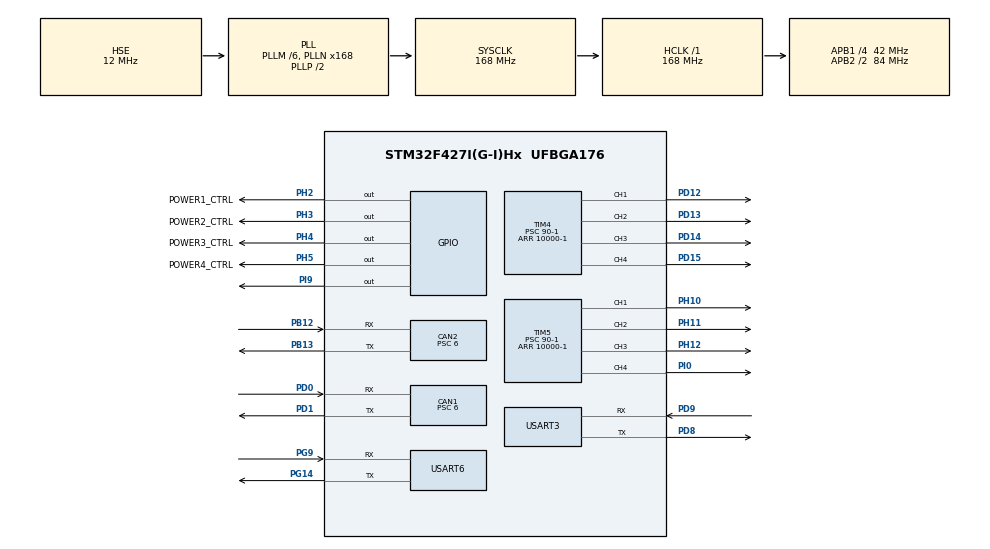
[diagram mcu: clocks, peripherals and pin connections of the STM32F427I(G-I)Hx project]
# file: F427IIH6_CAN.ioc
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CAN1.ABOM=ENABLE
CAN1.BS1=CAN_BS1_5TQ
CAN1.CalculateBaudRate=1000000
CAN1.CalculateTimeBit=1000
CAN1.CalculateTimeQuantum=142.85714285714286
CAN1.NART=ENABLE
CAN1.Prescaler=6
CAN2.ABOM=ENABLE
CAN2.BS1=CAN_BS1_5TQ
CAN2.CalculateBaudRate=1000000
CAN2.CalculateTimeBit=1000
CAN2.CalculateTimeQuantum=142.85714285714286
CAN2.NART=ENABLE
CAN2.Prescaler=6
Dma.Request0=USART6_RX
Dma.USART6_RX.0.Direction=DMA_PERIPH_TO_MEMORY
Dma.USART6_RX.0.FIFOMode=DMA_FIFOMODE_DISABLE
Dma.USART6_RX.0.Instance=DMA2_Stream1
Dma.USART6_RX.0.MemDataAlignment=DMA_MDATAALIGN_BYTE
Dma.USART6_RX.0.MemInc=DMA_MINC_ENABLE
Dma.USART6_RX.0.Mode=DMA_NORMAL
Dma.USART6_RX.0.PeriphDataAlignment=DMA_PDATAALIGN_BYTE
Dma.USART6_RX.0.PeriphInc=DMA_PINC_DISABLE
Dma.USART6_RX.0.Priority=DMA_PRIORITY_MEDIUM
FREERTOS.Tasks01=defaultTask,0,128,StartDefaultTask,Default,NULL,Dynamic,NULL,NULL
FREERTOS.configENABLE_FPU=1
Mcu.Family=STM32F4
Mcu.Name=STM32F427I(G-I)Hx
Mcu.Package=UFBGA176
NVIC.CAN1_RX0_IRQn=true\:5\:0\:false\:false\:true\:true\:true\:true\:true
NVIC.CAN1_RX1_IRQn=true\:5\:0\:false\:false\:true\:true\:true\:true\:true
NVIC.CAN2_RX0_IRQn=true\:5\:0\:false\:false\:true\:true\:true\:true\:true
NVIC.CAN2_RX1_IRQn=true\:5\:0\:false\:false\:true\:true\:true\:true\:true
NVIC.DMA2_Stream1_IRQn=true\:5\:0\:false\:false\:true\:true\:false\:true\:true
NVIC.PriorityGroup=NVIC_PRIORITYGROUP_4
NVIC.USART6_IRQn=true\:5\:0\:false\:false\:true\:true\:true\:true\:true
PA13.Mode=Serial_Wire
PA13.Signal=SYS_JTMS-SWDIO
PA14.Mode=Serial_Wire
PA14.Signal=SYS_JTCK-SWCLK
PB12.GPIO_PuPd=GPIO_PULLUP
PB12.Mode=CAN_Activate
PB12.Signal=CAN2_RX
PB13.GPIO_PuPd=GPIO_PULLUP
PB13.Mode=CAN_Activate
PB13.Signal=CAN2_TX
PD0.Mode=CAN_Activate
PD0.Signal=CAN1_RX
PD1.Mode=CAN_Activate
PD1.Signal=CAN1_TX
PD12.Signal=S_TIM4_CH1
PD13.Signal=S_TIM4_CH2
PD14.Signal=S_TIM4_CH3
PD15.Signal=S_TIM4_CH4
PD8.Mode=Asynchronous
PD8.Signal=USART3_TX
PD9.Mode=Asynchronous
PD9.Signal=USART3_RX
PG14.Mode=Asynchronous
PG14.Signal=USART6_TX
PG9.Mode=Asynchronous
PG9.Signal=USART6_RX
PH0/OSC_IN.Mode=HSE-External-Oscillator
PH0/OSC_IN.Signal=RCC_OSC_IN
PH1/OSC_OUT.Mode=HSE-External-Oscillator
PH1/OSC_OUT.Signal=RCC_OSC_OUT
PH10.Signal=S_TIM5_CH1
PH11.Signal=S_TIM5_CH2
PH12.Signal=S_TIM5_CH3
PH2.GPIO_Label=POWER1_CTRL
PH2.Signal=GPIO_Output
PH3.GPIO_Label=POWER2_CTRL
PH3.Signal=GPIO_Output
PH4.GPIO_Label=POWER3_CTRL
PH4.Signal=GPIO_Output
PH5.GPIO_Label=POWER4_CTRL
PH5.Signal=GPIO_Output
PI0.Signal=S_TIM5_CH4
PI9.Signal=GPIO_Output
ProjectManager.HeapSize=0x1000
ProjectManager.StackSize=0x800
ProjectManager.TargetToolchain=MDK-ARM V5.32
RCC.48MHZClocksFreq_Value=48000000
RCC.AHBFreq_Value=168000000
RCC.APB1CLKDivider=RCC_HCLK_DIV4
RCC.APB1Freq_Value=42000000
RCC.APB1TimFreq_Value=84000000
RCC.APB2CLKDivider=RCC_HCLK_DIV2
RCC.APB2Freq_Value=84000000
RCC.APB2TimFreq_Value=168000000
RCC.CortexFreq_Value=168000000
RCC.HCLKFreq_Value=168000000
RCC.HSE_VALUE=12000000
RCC.HSI_VALUE=16000000
RCC.LSE_VALUE=32768
RCC.PLLM=6
RCC.PLLN=168
RCC.PLLQ=7
RCC.PLLSourceVirtual=RCC_PLLSOURCE_HSE
RCC.SYSCLKFreq_VALUE=168000000
RCC.SYSCLKSource=RCC_SYSCLKSOURCE_PLLCLK
RCC.VCOOutputFreq_Value=336000000
SH.S_TIM4_CH1.0=TIM4_CH1,PWM Generation1 CH1
SH.S_TIM4_CH2.0=TIM4_CH2,PWM Generation2 CH2
SH.S_TIM4_CH3.0=TIM4_CH3,PWM Generation3 CH3
SH.S_TIM4_CH4.0=TIM4_CH4,PWM Generation4 CH4
SH.S_TIM5_CH1.0=TIM5_CH1,PWM Generation1 CH1
SH.S_TIM5_CH2.0=TIM5_CH2,PWM Generation2 CH2
SH.S_TIM5_CH3.0=TIM5_CH3,PWM Generation3 CH3
SH.S_TIM5_CH4.0=TIM5_CH4,PWM Generation4 CH4
TIM4.AutoReloadPreload=TIM_AUTORELOAD_PRELOAD_ENABLE
TIM4.Channel-PWM\ Generation1\ CH1=TIM_CHANNEL_1
TIM4.Channel-PWM\ Generation2\ CH2=TIM_CHANNEL_2
TIM4.Channel-PWM\ Generation3\ CH3=TIM_CHANNEL_3
TIM4.Channel-PWM\ Generation4\ CH4=TIM_CHANNEL_4
TIM4.Period=10000-1
TIM4.Prescaler=90-1
TIM5.AutoReloadPreload=TIM_AUTORELOAD_PRELOAD_ENABLE
TIM5.Channel-PWM\ Generation1\ CH1=TIM_CHANNEL_1
TIM5.Channel-PWM\ Generation2\ CH2=TIM_CHANNEL_2
TIM5.Channel-PWM\ Generation3\ CH3=TIM_CHANNEL_3
TIM5.Channel-PWM\ Generation4\ CH4=TIM_CHANNEL_4
TIM5.Period=10000-1
TIM5.Prescaler=90-1
USART3.VirtualMode=VM_ASYNC
USART6.VirtualMode=VM_ASYNC
VP_FREERTOS_VS_CMSIS_V1.Mode=CMSIS_V1
VP_TIM4_VS_ClockSourceINT.Mode=Internal
VP_TIM5_VS_ClockSourceINT.Mode=Internal
board=custom

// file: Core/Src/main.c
/* USER CODE BEGIN Header */
/**
  ******************************************************************************
  * @file           : main.c
  * @brief          : Main program body
  ******************************************************************************
  * @attention
  *
  * Copyright (c) 2025 STMicroelectronics.
  * All rights reserved.
  *
  * This software is licensed under terms that can be found in the LICENSE file
  * in the root directory of this software component.
  * If no LICENSE file comes with this software, it is provided AS-IS.
  *
  ******************************************************************************
  */
/* USER CODE END Header */
#include "main.h"
#include "cmsis_os.h"
#include "can.h"
#include "dma.h"
#include "tim.h"
#include "usart.h"
#include "gpio.h"

/* USER CODE BEGIN Includes */
#include "dm_j4310.h"
#include "maincpp.h"
#include "math.h"
#include "Led_Task.h"
#include "bsp_usart.h"
#include "disp_port.h"       /* 屏幕抽象层契约（具体屏由 feature_config.h §4 二选一） */
#include "Disp_Task.h"       /* 显示自检任务：屏的上电/初始化/体检都放任务里跑（不卡调度器启动） */
#include "Oled_Task.h"
#include "SdCard_Task.h"
#include "version.h"
#include "bsp_log.h"
#include "sys_status.h"
#include "sd_cli.h"
#include "feature_config.h"   /* 功能开关（宏裁剪无关功能） */
#include "J8108_Task.h"       /* 8108 关节电机控制任务（CAN1，控制帧发生器） */
#include "bsp_key.h"          /* 板载按键 PB2 事件机（纯 UI：翻页） */
#include "CmdRx_Task.h"       /* 串口协议接收/解析/分派（协议 v1） */
#include "Monitor_Task.h"     /* 低频监控：屏刷 10Hz + 日志 1Hz + 遥测 */
#include "proto_tx.h"         /* 协议统一发送口（互斥锁） */
#include "fault_log.h"        /* 崩溃黑匣子（复位后自报死因） */
extern void UART10_Init(void);
/* USER CODE END Includes */

/* USER CODE BEGIN PD */
#define fireVelo_low 5
#define fireVelo_high 9.5
// 高精度二次模型（误差最小）
int calculate_rpm(float desired_velocity) {
    const float A =3745, B = -3339.759f;
    return (int)( A * desired_velocity +B);
}
/* USER CODE END PD */

/* ★ 编译期告警：安全性模块被关闭必须显式可见（规范 R7）。
 * 刻意只放在 main.c（组装根，全工程只编译一次）——放在共享头里会在每个 include 它的
 * 编译单元各报一次（M3 实测 DISP_DEV 变成 18 条同文告警，噪声会淹没真问题）。
 * 运行时还有第二道保险：开机 @BOOT 横幅里的 j8108:0。 */
#if !FEATURE_J8108
#warning "J8108 disabled: motor control and protection are OFF (this build has no motor module)"
#endif

/* USER CODE BEGIN PV */
	float debug_shoot_velocity=0;
int get_rpm=0;
/* USER CODE END PV */

void SystemClock_Config(void);
void MX_FREERTOS_Init(void);

/* USER CODE BEGIN 0 */
/* ---- 上次运行是怎么死的？（崩点记录在 .bss，软复位不清零 → 开机自报，免调试器）----
 * 由 stm32f4xx_it.c 的 HardFault_Handler 与 freertos.c 的 vApplicationStackOverflowHook 记录 */
extern volatile uint32_t s_hf_pc, s_hf_lr, s_hf_cfsr, s_hf_hfsr;
extern char s_overflow_task[16];
extern volatile uint32_t s_overflow_cfsr;
static void report_previous_fault(void);
/* USER CODE END 0 */

/* USER CODE END 0 */

int main(void)
{

  /* MCU Configuration--------------------------------------------------------*/

  /* Reset of all peripherals, Initializes the Flash interface and the Systick. */
  HAL_Init();

  /* Configure the system clock */
  SystemClock_Config();

  /* Initialize all configured peripherals */
  MX_GPIO_Init();
  MX_DMA_Init();
  MX_CAN2_Init();
  MX_USART3_UART_Init();
  MX_USART6_UART_Init();
  MX_TIM4_Init();
  MX_TIM5_Init();
  MX_CAN1_Init();
  /* USER CODE BEGIN 2 */
  /* ---- 阶段1：最小系统验证（流水灯） ----
   * 暂时停用：舵机/遥控任务（main_cpp）、单电机测试（MotorTest）。
   * 只保留：POWER 供电控制（基础设施）+ 日志串口 + LED 流水灯。
   */
  HAL_GPIO_WritePin(POWER1_CTRL_GPIO_Port,POWER1_CTRL_Pin,1);
  HAL_GPIO_WritePin(POWER2_CTRL_GPIO_Port,POWER2_CTRL_Pin,1);
  HAL_GPIO_WritePin(POWER3_CTRL_GPIO_Port,POWER3_CTRL_Pin,1);
  HAL_GPIO_WritePin(POWER4_CTRL_GPIO_Port,POWER4_CTRL_Pin,0);

  // main_cpp();          /* 阶段1停用：舵机+遥控任务 */
  // MotorTest_Task_Init();/* 阶段1停用：单电机测试 */
  UART10_Init();            /* 日志串口必须先于 LED 任务（任务里 printf 依赖 uart10） */
  LOG_I("fw", "=== firmware %s (release %s, built %s %s) ===",
        FW_VERSION_STR, FW_RELEASE_STR, FW_BUILD_DATE, FW_BUILD_TIME);  /* 双版本标识 */
  /* 机器可读开机横幅（profile + 模块清单）：台架脚本据此断言"烧进去的组合 = 想跑的组合"，
   * 防"以为开了其实没开" —— 见 docs/规范_功能宏与模块化.md §6。
   * 注意：日志单条格式化缓冲 LOG_FMT_BUF_SIZE=128 会截断超长行（M1 实测），
   *       所以**拆成两行**，两行都以 @BOOT 开头便于脚本拼接（改这里要同步改 check_profiles 断言）。 */
  LOG_I("fw", "@BOOT profile=%s fw=%s disp=%s", BOOT_PROFILE_NAME, FW_VERSION_STR, DISP_DRIVER_NAME);
  LOG_I("fw", "@BOOT mods=j8108:%u,key:%u,monitor:%u,serial:%u,led:%u,sd:%u,cli:%u,car:%u,vlog:%u",
        FEATURE_J8108, FEATURE_KEY, FEATURE_MONITOR_TASK, FEATURE_SERIAL_CTRL, FEATURE_LED_TASK,
        FEATURE_SD_CARD, FEATURE_SD_CLI, FEATURE_CAR_TASKS, FEATURE_VERBOSE_LOG);
  report_previous_fault();  /* ★ 上次是不是崩了？崩在哪？——开机就报（不用接调试器） */

  /* 协议发送口：**与显示无关**（@OK/@ERR/@EVT/@TEL 四个出口共用一把锁），任何会发 @ 行的
   * 模块都依赖它 → 必须无条件初始化。M1 抓到的真实缺陷：它原先嵌在 OLED 宏里，换成
   * "有电机无屏"组合（PROFILE_MOTOR_DEV）会被跳过 → Proto_Send 因 s_tx_mtx==NULL 静默丢回包。 */
  Proto_TxInit();

#if FEATURE_SD_CLI
  SD_CLI_Init();             /* SD 卡命令行（uart10 接收回调注册） */
#endif
#if FEATURE_LED_TASK
  Led_Task_Init();          /* LED 流水灯任务 */
#endif
#if FEATURE_DISP_UI
  Disp_Init();              /* 屏：只配引脚+SPI（毫秒级；长延时/自检见 Disp_Task.c） */
  Disp_Task_Init();         /* 屏的上电/初始化/体检交给低优先级任务，不卡调度器启动 */
#if FEATURE_MONITOR_TASK
  Monitor_Task_Init();      /* 低频监控任务：屏刷 10Hz + 日志 1Hz + 遥测（三层同源快照） */
#endif
#endif
#if FEATURE_SD_CARD
  SdCard_Task_Init();
#endif
#if FEATURE_SD_CLI
  xTaskCreate(SD_CLI_TaskEntry, "CliTask", 512, NULL, 3, NULL);  /* SD 命令行任务 */
#endif
#if FEATURE_J8108
  J8108_Task_Init();        /* 8108 关节电机（CAN1；控制帧发生器：串口驱动模式/设定点） */
#endif

#if FEATURE_SERIAL_CTRL
  CmdRx_Task_Init();        /* 串口协议（USART6 与日志同口：# 命令 / @ 回包，靠前缀隔离）
                             * 依赖：uart10 + Proto_TxInit（两者已在上方初始化）；
                             * **不依赖电机** → 单独用 SERIAL_CTRL 门控（屏调试组合也要能收命令） */
#endif
#if FEATURE_KEY
  Key_Task_Init();          /* 板载按键 PB2（10ms 扫描 + 事件机） */
#endif
#if FEATURE_CAR_TASKS
  main_cpp();               /* 小车：舵机 + 遥控（默认关闭） */
#endif

  /* 任务创建结果自检（heap 32KB 紧张：创建失败会静默不跑 → 这里显式报出来 + 打印剩余堆） */
  LOG_I("fw", "task bring-up: active=%u | free heap=%u B / total=%u B (task+stack+TCB 已占用)",
        (unsigned)uxTaskGetNumberOfTasks(), (unsigned)xPortGetFreeHeapSize(), (unsigned)configTOTAL_HEAP_SIZE);
  SYS_SetState(SYS_STATE_RUNNING);         /* OLED 显示任务：画面绘制/周期刷新由任务执行 */
//	HAL_TIM_PWM_Start(&htim4,TIM_CHANNEL_1);
//	int debug_pwm=0;

//	__HAL_TIM_SET_COMPARE(&htim4,TIM_CHANNEL_1,500);
	// main_cpp();  /* 阶段1停用：舵机+遥控任务（CubeMX 重新生成时自动还原，已重新注释） */

//__HAL_TIM_SET_COMPARE(&htim4,TIM_CHANNEL_1,500);
//HAL_Delay(200);
//__HAL_TIM_SET_COMPARE(&htim4,TIM_CHANNEL_2,500);

//	uint8_t data[16]={0};
//	 HAL_UART_Receive_DMA(&huart6,(uint8_t*)data,sizeof(data));
//bsp_can_1_config();
//HAL_Delay(1);
// DM_4310_Register(&hcan1,0x001,0x000,mit_mode);

//	DM_J4310_instnce[0]->dm_controller_instance.p_des=12;
//DM_J4310_instnce[0]->dm_controller_instance.Kp = 1;
//DM_J4310_instnce[0]->dm_controller_instance.Kd =1;

// Enable_DM(DM_J4310_instnce[0]);
//bsp_can_2_config();
//HAL_Delay(3);
//达妙j4310初始id为0x01
//dm_motor_init();
//HAL_Delay(1);
//motor[Motor1].ctrl.mode=mit_mode;
//  motor[Motor1].id=0x01;
// dm_motor_enable(&hcan2, &motor[Motor1]);
// HAL_Delay(1000) ;
// mit_ctrl(&hcan2, &motor[Motor1], motor[Motor1].id, 10, 50, 0, 5, 0);
//uint32_t jntm = 0;

//MI_Motor_s xm_1;
//// MI_motor_GetID(&xm_1);
//// HAL_Delay(3);                                                                                                    ·
//// xm_1.motor_id = 0X7F;
//xm_1.motor_id = 0X7F;
//xm_1.phcan = &hcan2;
//MI_motor_Enable(&xm_1);
//HAL_Delay(3);
//MI_motor_SpeedControl(&xm_1, 5, 0.3);
// HAL_Delay(3);
// HAL_Delay(3000);

//   MI_motor_ChangeID(&xm_1, 0x7F, 0x01);
//   HAL_Delay(3);
//     xm_1.motor_id = 0X01;
//     MI_motor_SpeedControl(&xm_1, 5, 0.3);
//   MI_motor_Stop(&xm_1);
// HAL_Delay(3000);

//  MI_motor_SpeedControl(&xm_1, 25, 0.3);
// HAL_Delay(3);
   // // 开启dm电机
//	 DM_J4310_Controller_t *Rise_DMj4310;
//  Rise_DMj4310 = DM_4310_Register(&hcan1, 0x02, 0x03, pos_vel_mode);
//  Enable_DM(Rise_DMj4310);
//  HAL_Delay(10);
//  Rise_DMj4310->dm_controller_instance.P_des = 0;
//  Rise_DMj4310->dm_controller_instance.V_des = 3;

  /* USER CODE END 2 */

  /* Call init function for freertos objects (in cmsis_os2.c) */
  MX_FREERTOS_Init();

  /* Start scheduler */
  osKernelStart();

  /* We should never get here as control is now taken by the scheduler */

  /* Infinite loop */
  while (1)
  {

    /* USER CODE BEGIN 3 */
//		get_rpm= calculate_rpm(debug_shoot_velocity);
//
//		       Control_DM(Rise_DMj4310);
//
////	 HAL_UART_Receive_DMA(&huart6,(uint8_t*)data,sizeof(data));
//		HAL_Delay(6);
//			__HAL_TIM_SET_COMPARE(&htim4,TIM_CHANNEL_1,debug_pwm);
//		HAL_Delay(10);
  }
  /* USER CODE END 3 */
}

void SystemClock_Config(void)
{
  RCC_OscInitTypeDef RCC_OscInitStruct = {0};
  RCC_ClkInitTypeDef RCC_ClkInitStruct = {0};

  /** Configure the main internal regulator output voltage
  */
  __HAL_RCC_PWR_CLK_ENABLE();
  __HAL_PWR_VOLTAGESCALING_CONFIG(PWR_REGULATOR_VOLTAGE_SCALE1);

  /** Initializes the RCC Oscillators according to the specified parameters
  * in the RCC_OscInitTypeDef structure.
  */
  RCC_OscInitStruct.OscillatorType = RCC_OSCILLATORTYPE_HSE;
  RCC_OscInitStruct.HSEState = RCC_HSE_ON;
  RCC_OscInitStruct.PLL.PLLState = RCC_PLL_ON;
  RCC_OscInitStruct.PLL.PLLSource = RCC_PLLSOURCE_HSE;
  RCC_OscInitStruct.PLL.PLLM = 6;
  RCC_OscInitStruct.PLL.PLLN = 168;
  RCC_OscInitStruct.PLL.PLLP = RCC_PLLP_DIV2;
  RCC_OscInitStruct.PLL.PLLQ = 7;
  if (HAL_RCC_OscConfig(&RCC_OscInitStruct) != HAL_OK)
  {
    Error_Handler();
  }

  /** Initializes the CPU, AHB and APB buses clocks
  */
  RCC_ClkInitStruct.ClockType = RCC_CLOCKTYPE_HCLK|RCC_CLOCKTYPE_SYSCLK
                              |RCC_CLOCKTYPE_PCLK1|RCC_CLOCKTYPE_PCLK2;
  RCC_ClkInitStruct.SYSCLKSource = RCC_SYSCLKSOURCE_PLLCLK;
  RCC_ClkInitStruct.AHBCLKDivider = RCC_SYSCLK_DIV1;
  RCC_ClkInitStruct.APB1CLKDivider = RCC_HCLK_DIV4;
  RCC_ClkInitStruct.APB2CLKDivider = RCC_HCLK_DIV2;

  if (HAL_RCC_ClockConfig(&RCC_ClkInitStruct, FLASH_LATENCY_5) != HAL_OK)
  {
    Error_Handler();
  }
}

/* USER CODE BEGIN 4 */
/* 上次运行的死因自报（日志串口已就绪；报告完清零，保证下次崩溃能重新记录） */
static void report_previous_fault(void)
{
    if (s_hf_pc != 0u)
    {
        LOG_E("fault", "PREVIOUS RUN ENDED IN HARD FAULT: PC=0x%08lX LR=0x%08lX CFSR=0x%08lX HFSR=0x%08lX",
              (unsigned long)s_hf_pc, (unsigned long)s_hf_lr, (unsigned long)s_hf_cfsr, (unsigned long)s_hf_hfsr);
        s_hf_pc = 0u;
        s_hf_lr = 0u;
        s_hf_cfsr = 0u;
        s_hf_hfsr = 0u;
    }
    if (s_overflow_task[0] != '\0')
    {
        LOG_E("fault", "PREVIOUS RUN HIT STACK OVERFLOW in task '%s' (CFSR=0x%08lX) -> raise that task's stack!",
              s_overflow_task, (unsigned long)s_overflow_cfsr);
        s_overflow_task[0] = '\0';
        s_overflow_cfsr = 0u;
    }

    /* ★ 第二条路径：复位后仍保留的黑匣子（RTC 备份寄存器）——断电才会丢 */
    FaultLog_InitAndReport();
}
/* USER CODE END 4 */

/* USER CODE END 4 */

void Error_Handler(void)
{
  __disable_irq();
  while (1)
  {
  }
}

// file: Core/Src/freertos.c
/* USER CODE BEGIN Header */
/**
  ******************************************************************************
  * File Name          : freertos.c
  * Description        : Code for freertos applications
  ******************************************************************************
  * @attention
  *
  * Copyright (c) 2025 STMicroelectronics.
  * All rights reserved.
  *
  * This software is licensed under terms that can be found in the LICENSE file
  * in the root directory of this software component.
  * If no LICENSE file comes with this software, it is provided AS-IS.
  *
  ******************************************************************************
  */
/* USER CODE END Header */

#include "FreeRTOS.h"
#include "task.h"
#include "bsp_log.h"
#include "main.h"
#include "fault_log.h"  /* 崩溃黑匣子（RTC 备份寄存器） */
#include "cmsis_os.h"

osThreadId defaultTaskHandle;

void StartDefaultTask(void const * argument);

void MX_FREERTOS_Init(void); /* (MISRA C 2004 rule 8.1) */

/* GetIdleTaskMemory prototype (linked to static allocation support) */
void vApplicationGetIdleTaskMemory( StaticTask_t **ppxIdleTaskTCBBuffer, StackType_t **ppxIdleTaskStackBuffer, uint32_t *pulIdleTaskStackSize );

/* USER CODE BEGIN GET_IDLE_TASK_MEMORY */
static StaticTask_t xIdleTaskTCBBuffer;
static StackType_t xIdleStack[configMINIMAL_STACK_SIZE];

void vApplicationGetIdleTaskMemory( StaticTask_t **ppxIdleTaskTCBBuffer, StackType_t **ppxIdleTaskStackBuffer, uint32_t *pulIdleTaskStackSize )
{
  *ppxIdleTaskTCBBuffer = &xIdleTaskTCBBuffer;
  *ppxIdleTaskStackBuffer = &xIdleStack[0];
  *pulIdleTaskStackSize = configMINIMAL_STACK_SIZE;
  /* place for user code */
}
/* USER CODE END GET_IDLE_TASK_MEMORY */

void MX_FREERTOS_Init(void) {

  /* Create the thread(s) */
  /* definition and creation of defaultTask */
  osThreadDef(defaultTask, StartDefaultTask, osPriorityNormal, 0, 128);
  defaultTaskHandle = osThreadCreate(osThread(defaultTask), NULL);

}

void StartDefaultTask(void const * argument)
{
  for(;;)
  {
    osDelay(1);
  }
}

/* USER CODE BEGIN 4 */
/* 栈溢出钩子：采集完整案发现场到 4 个全局变量（Keil Watch 一次读全）：
 *   s_overflow_task   任务名（可能被踩空）
 *   s_overflow_handle 溢出任务的 TCB 句柄
 *   s_overflow_psp    溢出时的 PSP（任务栈指针，对比 TCB 栈边界定位过界量）
 *   s_overflow_cfsr   溢出时刻的 CFSR（Keil reset+halt 会清掉真实 CFSR，这里先存）
 * 红 LED 常亮 = 栈溢出发生。 */
char s_overflow_task[16] = {0};
volatile uint32_t s_overflow_handle = 0U;
volatile uint32_t s_overflow_psp = 0U;
volatile uint32_t s_overflow_cfsr = 0U;

void vApplicationStackOverflowHook(TaskHandle_t xTask, char *pcTaskName)
{
    if (pcTaskName != NULL)
    {
        for (int i = 0; (i < 15) && (pcTaskName[i] != '\0'); i++)
        {
            s_overflow_task[i] = pcTaskName[i];
        }
    }
    FaultLog_StoreStackOverflow(pcTaskName); /* ★ 黑匣子：复位后仍可读 */
    s_overflow_handle = (uint32_t)xTask;
    s_overflow_psp = (uint32_t)__get_PSP();
    s_overflow_cfsr = SCB->CFSR;
    HAL_GPIO_WritePin(GPIOE, GPIO_PIN_11, GPIO_PIN_RESET);  /* 红LED亮 */
    taskDISABLE_INTERRUPTS();
    for (;;) {}
}
/* USER CODE END 4 */
